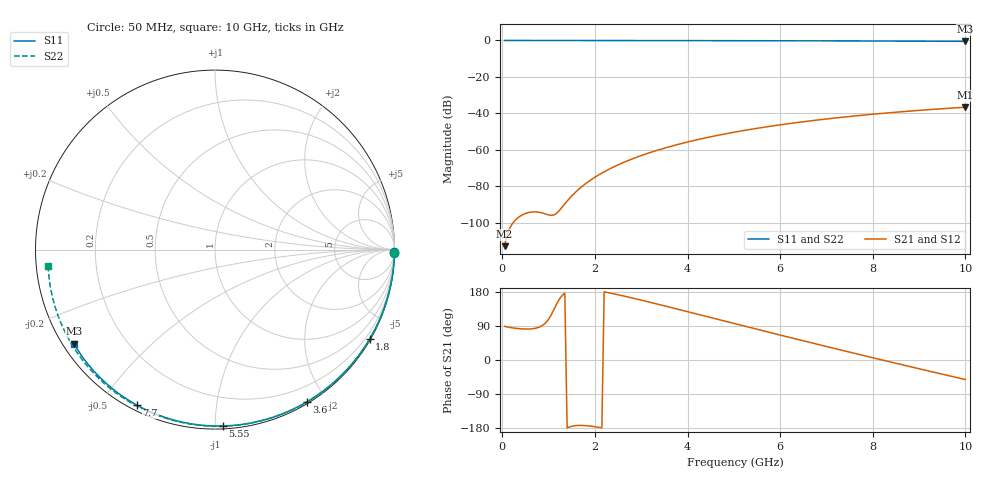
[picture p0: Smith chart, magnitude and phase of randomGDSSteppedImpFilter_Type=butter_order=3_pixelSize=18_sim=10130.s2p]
! freq	dB(S11)	phase(S11)	dB(S12)	phase(S12)
!  dB(S21)	phase(S21)	dB(S22)	phase(S22)
!S-par simulation data
#  GHz  S  DB  R 50
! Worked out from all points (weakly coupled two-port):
!   200 points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, 50 MHz to 10 GHz, reference 50 ohm
!   highest |S21| = -36.68 dB at 10 GHz (marker M1); lowest = -113.0 dB at 50 MHz (marker M2)
!   lowest |S11| = -0.5 dB at 10 GHz (marker M3), VSWR 35.24, Z = 1.55 - j15.1 ohm
!   |S11| at or under -10 dB: nowhere
!   |S22| runs from -0.6 to 0.0 dB; largest |S21 - S12| = 0
!   S11 on the Smith chart (normalised r, x): 50 MHz: open; 1.8 GHz: 0.03, -3.71; 3.6 GHz: 0.02, -1.77; 5.55 GHz: 0.02, -1.04; 7.7 GHz: 0.02, -0.62; 10 GHz: 0.03, -0.30
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0.05  -0.00 -0.9  -112.98 88.7  -112.98 88.7  -0.00 -1.0
0.45  -0.01 -7.7  -95.58 81.9  -95.58 81.9  -0.01 -8.7
0.85  -0.02 -14.4  -94.66 89.9  -94.66 89.9  -0.02 -16.4
1.25  -0.03 -21.1  -92.88 163.7  -92.88 163.7  -0.03 -24.0
1.7  -0.04 -28.5  -80.63 -172.5  -80.63 -172.5  -0.04 -32.5
1.75  -0.04 -29.3  -79.60 -172.7  -79.60 -172.7  -0.04 -33.4
1.8  -0.04 -30.2  -78.62 -173.1  -78.62 -173.1  -0.04 -34.4
2.1  -0.04 -35.1  -73.56 -178.0  -73.56 -178.0  -0.05 -40.0
2.3  -0.05 -38.3  -70.77 177.4  -70.77 177.4  -0.06 -43.7
2.5  -0.05 -41.5  -68.32 172.2  -68.32 172.2  -0.06 -47.3
2.9  -0.06 -47.9  -64.15 160.9  -64.15 160.9  -0.07 -54.6
3.4  -0.07 -55.7  -59.90 146.0  -59.90 146.0  -0.08 -63.5
3.6  -0.08 -58.8  -58.43 139.9  -58.43 139.9  -0.09 -67.0
4.3  -0.10 -69.4  -54.00 118.3  -54.00 118.3  -0.11 -79.1
5.05  -0.12 -80.4  -50.19 95.0  -50.19 95.0  -0.14 -91.8
5.55  -0.14 -87.5  -48.05 79.6  -48.05 79.6  -0.17 -100.1
6.1  -0.17 -95.2  -45.99 62.8  -45.99 62.8  -0.20 -109.1
6.7  -0.20 -103.4  -44.01 44.6  -44.01 44.6  -0.23 -118.8
7.7  -0.27 -116.7  -41.24 14.7  -41.24 14.7  -0.31 -135.0
8.35  -0.32 -125.1  -39.72 -4.3  -39.72 -4.3  -0.38 -145.6
9.2  -0.40 -136.0  -38.02 -28.8  -38.02 -28.8  -0.48 -160.0
10  -0.49 -146.3  -36.68 -51.6  -36.68 -51.6  -0.59 -174.3
